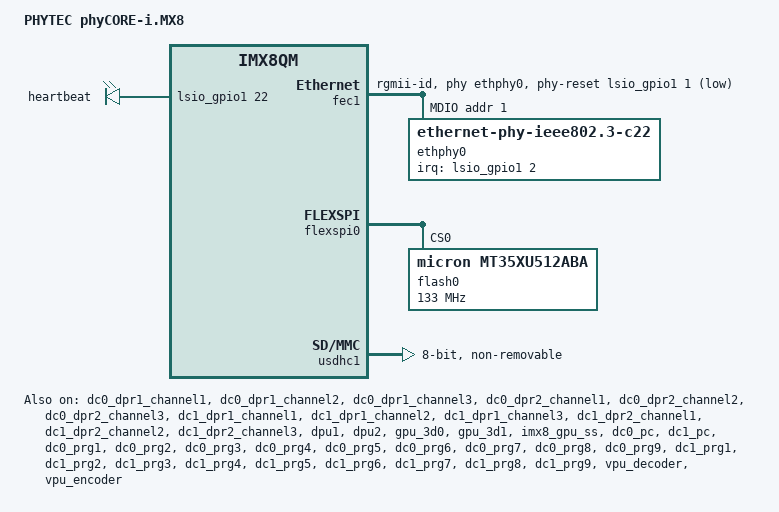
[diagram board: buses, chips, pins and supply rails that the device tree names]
// SPDX-License-Identifier: GPL-2.0
/*
 * Copyright (C) 2017 PHYTEC Messtechnik GmbH
 * Author: Christian Hemp <c.hemp@phytec.de>
 */

#include "imx8qm.dtsi"
#include <dt-bindings/gpio/gpio.h>
#include <dt-bindings/net/ti-dp83867.h>

/ {
	model = "PHYTEC phyCORE-i.MX8";
	compatible = "phytec,imx8qm-pcm064", "fsl,imx8qm";

	leds {
		compatible = "gpio-leds";
		pinctrl-names = "default";
		pinctrl-0 = <&pinctrl_gpio_leds>;

		user {
			label = "heartbeat";
			gpios = <&lsio_gpio1 22 0>;
			default-state = "on";
			linux,default-trigger = "heartbeat";
		};
	};

	reserved-memory {
		#address-cells = <2>;
		#size-cells = <2>;
		ranges;

		dsp_reserved: dsp@0x92400000 {
			no-map;
			reg = <0 0x92400000 0 0x2000000>;
		};

		/* global autoconfigured region for contiguous allocations */
		linux,cma {
			compatible = "shared-dma-pool";
			reusable;
			size = <0 0x3c000000>;
			alloc-ranges = <0 0x96000000 0 0x3c000000>;
			linux,cma-default;
		};

	};
};

&dc0_dpr1_channel1 {
	status = "okay";
};

&dc0_dpr1_channel2 {
	status = "okay";
};

&dc0_dpr1_channel3 {
	status = "okay";
};

&dc0_dpr2_channel1 {
	status = "okay";
};

&dc0_dpr2_channel2 {
	status = "okay";
};

&dc0_dpr2_channel3 {
	status = "okay";
};

&dc1_dpr1_channel1 {
	status = "okay";
};

&dc1_dpr1_channel2 {
	status = "okay";
};

&dc1_dpr1_channel3 {
	status = "okay";
};

&dc1_dpr2_channel1 {
	status = "okay";
};

&dc1_dpr2_channel2 {
	status = "okay";
};

&dc1_dpr2_channel3 {
	status = "okay";
};

&dpu1 {
	status = "okay";
};

&dpu2 {
	status = "okay";
};

&fec1 {
	pinctrl-names = "default";
	pinctrl-0 = <&pinctrl_fec1>;
	phy-mode = "rgmii-id";
	phy-handle = <&ethphy0>;
	fsl,magic-packet;
	status = "okay";
	fsl,mii-exclusive;
	phy-reset-gpios = <&lsio_gpio1 1 GPIO_ACTIVE_LOW>;

	mdio@0 {
		#address-cells = <1>;
		#size-cells = <0>;

		ethphy0: ethernet-phy@1 {
			compatible = "ethernet-phy-ieee802.3-c22";
			reg = <1>;
			interrupt-parent = <&lsio_gpio1>;
			interrupts = <2 IRQ_TYPE_EDGE_FALLING>;
			ti,rx-internal-delay = <DP83867_RGMIIDCTL_2_00_NS>;
			ti,tx-internal-delay = <DP83867_RGMIIDCTL_2_00_NS>;
			ti,fifo-depth = <DP83867_PHYCR_FIFO_DEPTH_8_B_NIB>;
			enet-phy-lane-no-swap;
		};
	};
};

&flexspi0 {
	pinctrl-names = "default";
	pinctrl-0 = <&pinctrl_flexspi0>;
	status = "okay";

	flash0: mt35xu512aba@0 {
		reg = <0>;
		#address-cells = <1>;
		#size-cells = <1>;
		compatible = "micron,mt35xu512aba";
		spi-max-frequency = <133000000>;
		spi-nor,ddr-quad-read-dummy = <8>;
	};
};

&gpu_3d0 {
	status = "okay";
};

&gpu_3d1 {
	status = "okay";
};

&imx8_gpu_ss {
	status = "okay";
};

&dc0_pc {
	status = "okay";
};

&dc1_pc {
	status = "okay";
};

&dc0_prg1 {
	status = "okay";
};

&dc0_prg2 {
	status = "okay";
};

&dc0_prg3 {
	status = "okay";
};

&dc0_prg4 {
	status = "okay";
};

&dc0_prg5 {
	status = "okay";
};

&dc0_prg6 {
	status = "okay";
};

&dc0_prg7 {
	status = "okay";
};

&dc0_prg8 {
	status = "okay";
};

&dc0_prg9 {
	status = "okay";
};

&dc1_prg1 {
	status = "okay";
};

&dc1_prg2 {
	status = "okay";
};

&dc1_prg3 {
	status = "okay";
};

&dc1_prg4 {
	status = "okay";
};

&dc1_prg5 {
	status = "okay";
};

&dc1_prg6 {
	status = "okay";
};

&dc1_prg7 {
	status = "okay";
};

&dc1_prg8 {
	status = "okay";
};

&dc1_prg9 {
	status = "okay";
};

&usdhc1 {
	pinctrl-names = "default", "state_100mhz", "state_200mhz";
	pinctrl-0 = <&pinctrl_usdhc1>;
	pinctrl-1 = <&pinctrl_usdhc1_100mhz>;
	pinctrl-2 = <&pinctrl_usdhc1_200mhz>;
	bus-width = <8>;
	non-removable;
	status = "okay";
};

&vpu_decoder {
	core_type = <2>;
	status = "okay";
};

&vpu_encoder {
	status = "okay";
};

&iomuxc {
	pinctrl_fec1: fec1grp {
		fsl,pins = <
			IMX8QM_ENET0_MDC_CONN_ENET0_MDC			0x06000020
			IMX8QM_ENET0_MDIO_CONN_ENET0_MDIO			0x06000020
			IMX8QM_ENET0_RGMII_TX_CTL_CONN_ENET0_RGMII_TX_CTL	0x06000020
			IMX8QM_ENET0_RGMII_TXC_CONN_ENET0_RGMII_TXC	0x06000020
			IMX8QM_ENET0_RGMII_TXD0_CONN_ENET0_RGMII_TXD0	0x06000020
			IMX8QM_ENET0_RGMII_TXD1_CONN_ENET0_RGMII_TXD1	0x06000020
			IMX8QM_ENET0_RGMII_TXD2_CONN_ENET0_RGMII_TXD2	0x06000020
			IMX8QM_ENET0_RGMII_TXD3_CONN_ENET0_RGMII_TXD3	0x06000020
			IMX8QM_ENET0_RGMII_RXC_CONN_ENET0_RGMII_RXC	0x06000020
			IMX8QM_ENET0_RGMII_RX_CTL_CONN_ENET0_RGMII_RX_CTL	0x06000020
			IMX8QM_ENET0_RGMII_RXD0_CONN_ENET0_RGMII_RXD0	0x06000060
			IMX8QM_ENET0_RGMII_RXD1_CONN_ENET0_RGMII_RXD1	0x06000060
			IMX8QM_ENET0_RGMII_RXD2_CONN_ENET0_RGMII_RXD2	0x06000060
			IMX8QM_ENET0_RGMII_RXD3_CONN_ENET0_RGMII_RXD3	0x06000060
			IMX8QM_SCU_GPIO0_05_LSIO_GPIO1_IO01		0x00000021
			IMX8QM_SCU_GPIO0_06_LSIO_GPIO1_IO02		0x00000021
		>;
	};

	pinctrl_flexspi0: flexspi0grp {
		fsl,pins = <
			IMX8QM_QSPI0A_DATA0_LSIO_QSPI0A_DATA0	0x06000021
			IMX8QM_QSPI0A_DATA1_LSIO_QSPI0A_DATA1	0x06000021
			IMX8QM_QSPI0A_DATA2_LSIO_QSPI0A_DATA2	0x06000021
			IMX8QM_QSPI0A_DATA3_LSIO_QSPI0A_DATA3	0x06000021
			IMX8QM_QSPI0A_DQS_LSIO_QSPI0A_DQS	0x06000021
			IMX8QM_QSPI0A_SS0_B_LSIO_QSPI0A_SS0_B	0x06000021
			IMX8QM_QSPI0A_SCLK_LSIO_QSPI0A_SCLK	0x06000021
			IMX8QM_QSPI0B_SCLK_LSIO_QSPI0B_SCLK	0x06000021
			IMX8QM_QSPI0B_DATA0_LSIO_QSPI0B_DATA0	0x06000021
			IMX8QM_QSPI0B_DATA1_LSIO_QSPI0B_DATA1	0x06000021
			IMX8QM_QSPI0B_DATA2_LSIO_QSPI0B_DATA2	0x06000021
			IMX8QM_QSPI0B_DATA3_LSIO_QSPI0B_DATA3	0x06000021
			IMX8QM_QSPI0B_SS0_B_LSIO_QSPI0B_SS0_B	0x06000021
		>;
	};

	pinctrl_gpio_leds: gpioledsgrp {
		fsl,pins = <
			IMX8QM_MIPI_DSI1_GPIO0_00_LSIO_GPIO1_IO22	0x00000021
		>;
	};

	pinctrl_usdhc1: usdhc1grp {
		fsl,pins = <
			IMX8QM_EMMC0_CLK_CONN_EMMC0_CLK		0x06000041
			IMX8QM_EMMC0_CMD_CONN_EMMC0_CMD		0x00000021
			IMX8QM_EMMC0_DATA0_CONN_EMMC0_DATA0	0x00000021
			IMX8QM_EMMC0_DATA1_CONN_EMMC0_DATA1	0x00000021
			IMX8QM_EMMC0_DATA2_CONN_EMMC0_DATA2	0x00000021
			IMX8QM_EMMC0_DATA3_CONN_EMMC0_DATA3	0x00000021
			IMX8QM_EMMC0_DATA4_CONN_EMMC0_DATA4	0x00000021
			IMX8QM_EMMC0_DATA5_CONN_EMMC0_DATA5	0x00000021
			IMX8QM_EMMC0_DATA6_CONN_EMMC0_DATA6	0x00000021
			IMX8QM_EMMC0_DATA7_CONN_EMMC0_DATA7	0x00000021
			IMX8QM_EMMC0_STROBE_CONN_EMMC0_STROBE	0x06000041
			IMX8QM_EMMC0_RESET_B_CONN_EMMC0_RESET_B	0x00000021
		>;
	};

	pinctrl_usdhc1_100mhz: usdhc1grp100mhz {
		fsl,pins = <
			IMX8QM_EMMC0_CLK_CONN_EMMC0_CLK		0x06000040
			IMX8QM_EMMC0_CMD_CONN_EMMC0_CMD		0x00000020
			IMX8QM_EMMC0_DATA0_CONN_EMMC0_DATA0	0x00000020
			IMX8QM_EMMC0_DATA1_CONN_EMMC0_DATA1	0x00000020
			IMX8QM_EMMC0_DATA2_CONN_EMMC0_DATA2	0x00000020
			IMX8QM_EMMC0_DATA3_CONN_EMMC0_DATA3	0x00000020
			IMX8QM_EMMC0_DATA4_CONN_EMMC0_DATA4	0x00000020
			IMX8QM_EMMC0_DATA5_CONN_EMMC0_DATA5	0x00000020
			IMX8QM_EMMC0_DATA6_CONN_EMMC0_DATA6	0x00000020
			IMX8QM_EMMC0_DATA7_CONN_EMMC0_DATA7	0x00000020
			IMX8QM_EMMC0_STROBE_CONN_EMMC0_STROBE	0x06000040
			IMX8QM_EMMC0_RESET_B_CONN_EMMC0_RESET_B	0x00000020
		>;
	};

	pinctrl_usdhc1_200mhz: usdhc1grp200mhz {
		fsl,pins = <
			IMX8QM_EMMC0_CLK_CONN_EMMC0_CLK		0x06000040
			IMX8QM_EMMC0_CMD_CONN_EMMC0_CMD		0x00000020
			IMX8QM_EMMC0_DATA0_CONN_EMMC0_DATA0	0x00000020
			IMX8QM_EMMC0_DATA1_CONN_EMMC0_DATA1	0x00000020
			IMX8QM_EMMC0_DATA2_CONN_EMMC0_DATA2	0x00000020
			IMX8QM_EMMC0_DATA3_CONN_EMMC0_DATA3	0x00000020
			IMX8QM_EMMC0_DATA4_CONN_EMMC0_DATA4	0x00000020
			IMX8QM_EMMC0_DATA5_CONN_EMMC0_DATA5	0x00000020
			IMX8QM_EMMC0_DATA6_CONN_EMMC0_DATA6	0x00000020
			IMX8QM_EMMC0_DATA7_CONN_EMMC0_DATA7	0x00000020
			IMX8QM_EMMC0_STROBE_CONN_EMMC0_STROBE	0x06000040
			IMX8QM_EMMC0_RESET_B_CONN_EMMC0_RESET_B	0x00000020
		>;
	};
};
